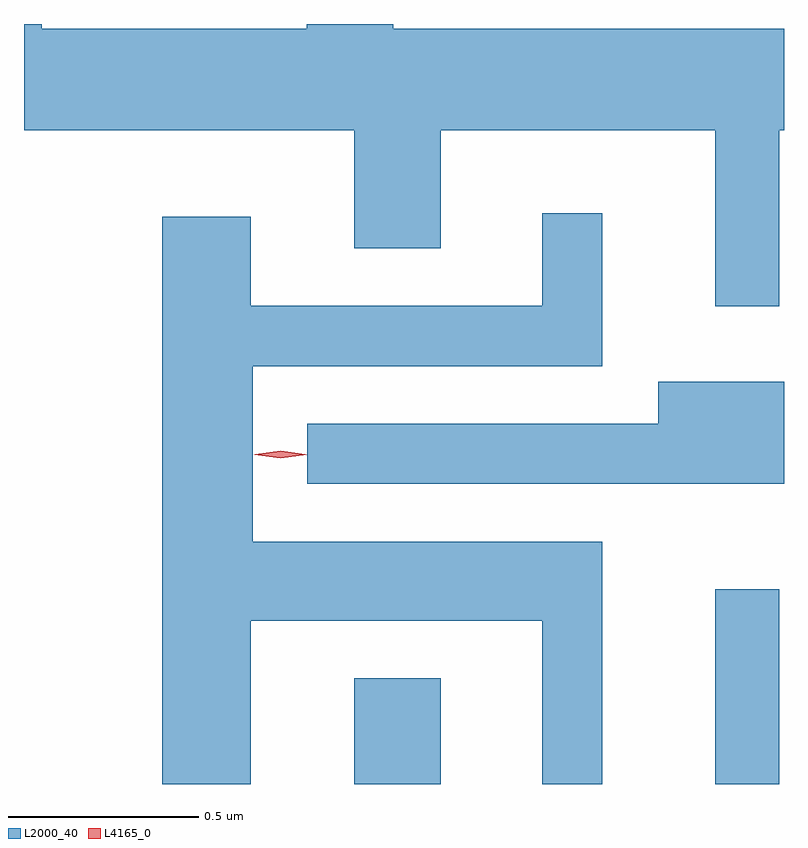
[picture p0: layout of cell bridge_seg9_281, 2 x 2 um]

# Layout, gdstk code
import gdstk
lib = gdstk.Library(unit=1e-6, precision=1e-09)
def R(c, l, rs):  # rectangles x0, y0, x1, y1
    for r in rs: c.add(gdstk.rectangle(r[:2], r[2:], *l))
def P(c, l, *ps):  # polygons
    for p in ps: c.add(gdstk.Polygon(p, *l))
L2000_40 = (2000, 40)
L4165_0 = (4165, 0)

bridge_seg9_281 = lib.new_cell('bridge_seg9_281')
R(bridge_seg9_281, L2000_40, [(887.721,2025.616,887.949,2025.894), (888.671,2025.616,888.839,2026.128)])
P(bridge_seg9_281, L2000_40, [(888.839,2027.336),(888.852,2027.336),(888.852,2027.604),(887.824,2027.604),(887.824,2027.616),(887.596,2027.616),(887.596,2027.604),(886.899,2027.604),(886.899,2027.616),(886.852,2027.616),(886.852,2027.336),(887.721,2027.336),(887.721,2027.026),(887.949,2027.026),(887.949,2027.336),(888.671,2027.336),(888.671,2026.873),(888.839,2026.873)],
  [(887.449,2026.046),(888.216,2026.046),(888.216,2025.616),(888.374,2025.616),(888.374,2026.254),(887.454,2026.254),(887.454,2026.716),(888.374,2026.716),(888.374,2027.118),(888.216,2027.118),(888.216,2026.874),(887.449,2026.874),(887.449,2027.109),(887.216,2027.109),(887.216,2025.616),(887.449,2025.616)],
  [(888.852,2026.674),(888.521,2026.674),(888.521,2026.564),(887.598,2026.564),(887.598,2026.406),(888.852,2026.406)])
P(bridge_seg9_281, L4165_0, [(887.527,2026.473),(887.458,2026.482),(887.457,2026.483),(887.458,2026.483),(887.527,2026.493),(887.596,2026.483),(887.596,2026.483),(887.596,2026.482)],
  [(887.527,2026.473),(887.461,2026.483),(887.46,2026.483),(887.461,2026.484),(887.527,2026.493),(887.592,2026.484),(887.593,2026.483),(887.592,2026.483)])

lib.write_gds('bridge_seg9_281.gds')
